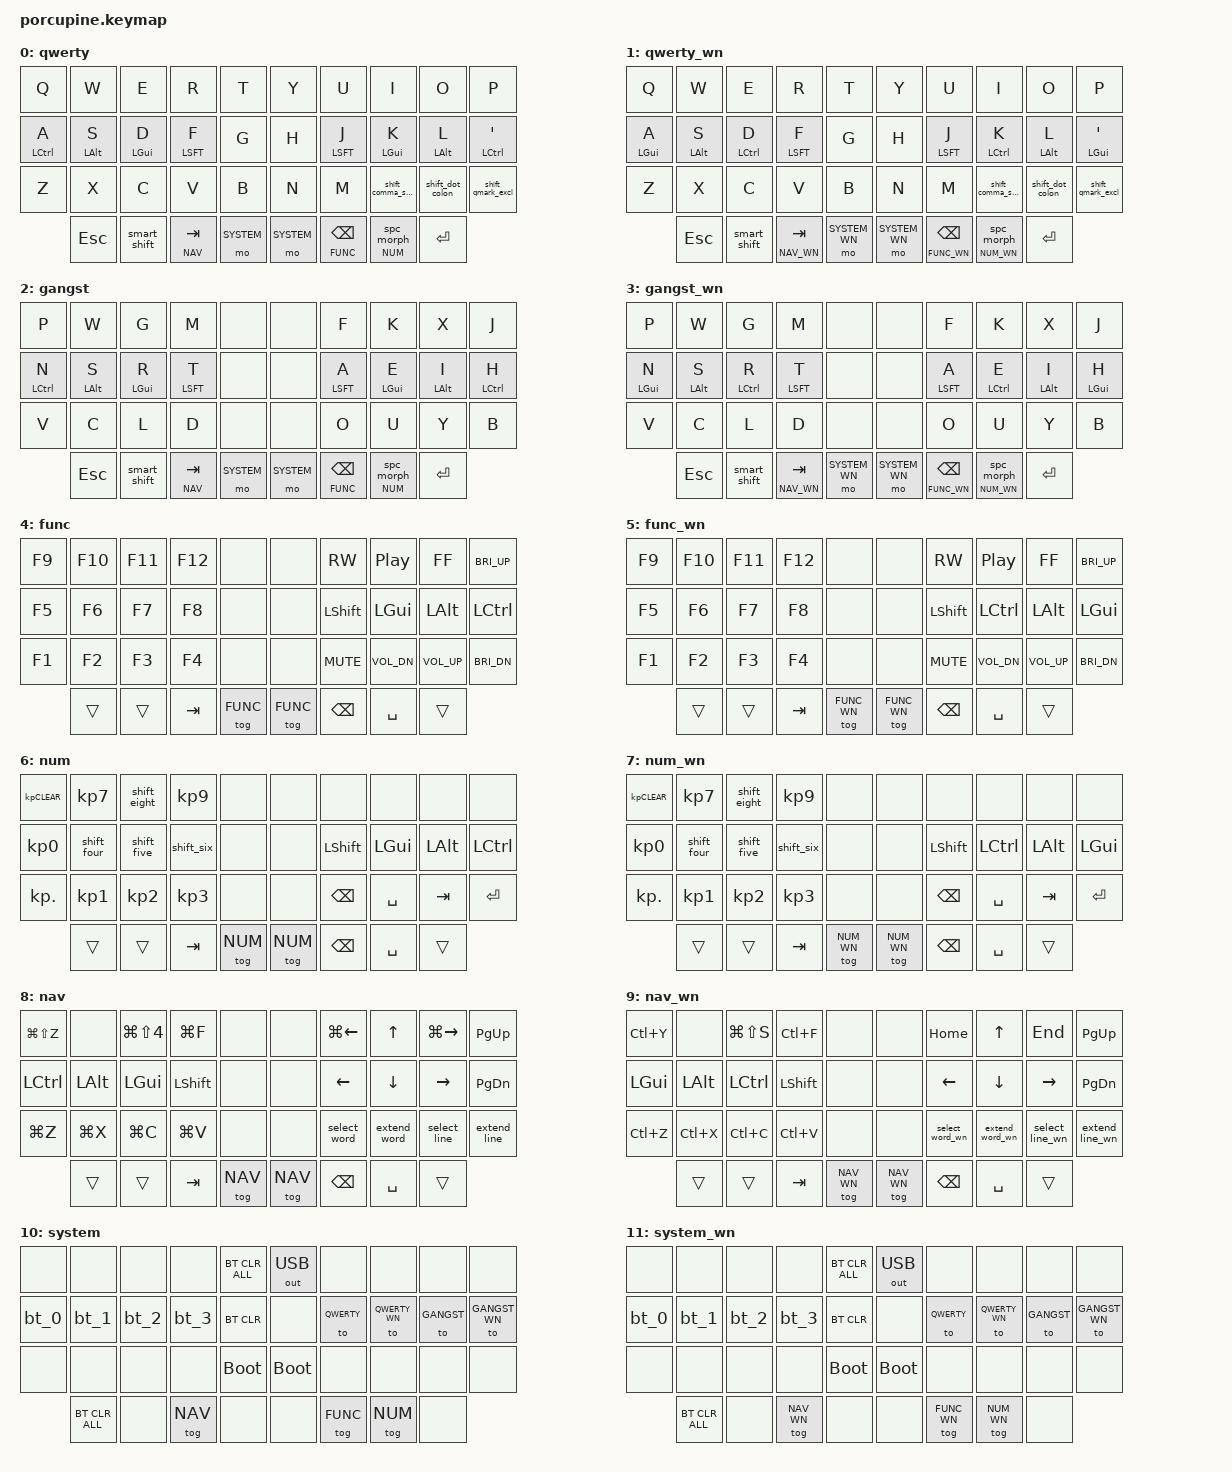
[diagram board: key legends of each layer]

/*
 * Copyright (c) 2021 The ZMK Contributors
 *
 * SPDX-License-Identifier: MIT
 */

  /************************
  * Porcupine - ZMK Keymap
  *
  * Multiple-OS keymap with qwerty and gangst layouts.
  *
  ************************/

#include <behaviors.dtsi>
#include <dt-bindings/zmk/keys.h>
#include <dt-bindings/zmk/bt.h>
#include <dt-bindings/zmk/outputs.h>

/* Helper Macros, based on https://github.com/urob/zmk-helpers/ */

#pragma once

//#define ZMK_HELPER_STRINGIFY(x) #x

// Preprocessor mechanism to overload macros, cf. https://stackoverflow.com/a/27051616/6114651
//#define VARGS_(_10, _9, _8, _7, _6, _5, _4, _3, _2, _1, N, ...) N
//#define VARGS(...) VARGS_(__VA_ARGS__, 10, 9, 8, 7, 6, 5, 4, 3, 2, 1, 0)
//#define CONCAT_(a, b) a##b
//#define CONCAT(a, b) CONCAT_(a, b)

//#define ZMK_BEHAVIOR_CORE_tap_dance  \
//    compatible = "zmk,behavior-tap-dance"; \
//    #binding-cells = <0>
//
//#define ZMK_BEHAVIOR(name, type, ...) \
//    name: name { \
//        ZMK_BEHAVIOR_CORE_ ## type; \
//        __VA_ARGS__ \
//    };
//
//#define ZMK_TAP_DANCE(name, ...) \
//    ZMK_BEHAVIOR(name, tap_dance, __VA_ARGS__)
//
//#define ZMK_TD_LAYER(name, layer) \
//    ZMK_TAP_DANCE(name, \
//        tapping-term-ms = <200>; \
//        bindings = <&mo layer>, <&to layer>; \
//)

#define QWERTY 0
#define QWERTY_WN 1
#define GANGST 2
#define GANGST_WN 3
#define FUNC 4
#define FUNC_WN 5
#define NUM 6
#define NUM_WN 7
#define NAV 8
#define NAV_WN 9
#define SYSTEM 10
#define SYSTEM_WN 11

/* System behavior and Macros */
/// {
//    behaviors {
//        // hold: momentary layer | dbl-tap: to layer
//        ZMK_TD_LAYER(lower, LOWER)
//    };
//};

/* Blue-tooth controls */
/ {
    // set blue-tooth
    macros {
        bt_0: bt_0 {
            label = "BT_0";
            compatible = "zmk,behavior-macro";
            #binding-cells = <0>;
            bindings
                = <&out OUT_BLE>,
                  <&bt BT_SEL 0>;
        };
        bt_1: bt_1 {
            label = "BT_1";
            compatible = "zmk,behavior-macro";
            #binding-cells = <0>;
            bindings
                = <&out OUT_BLE>,
                  <&bt BT_SEL 1>;
        };
        bt_2: bt_2 {
            label = "BT_2";
            compatible = "zmk,behavior-macro";
            #binding-cells = <0>;
            bindings
                = <&out OUT_BLE>,
                  <&bt BT_SEL 2>;
        };
        bt_3: bt_3 {
            label = "BT_3";
            compatible = "zmk,behavior-macro";
            #binding-cells = <0>;
            bindings
                = <&out OUT_BLE>,
                  <&bt BT_SEL 3>;
        };
    };
};

/* Custom Defined Behaviors */
/ {
    // *************
    // OS specific values to use.
    //
    // - https://en.wikipedia.org/wiki/Table_of_keyboard_shortcuts
    // *************

    //mac
    #define MC_LOCK       LG(LC(Q))
    #define MC_HOME       LG(LEFT)
    #define MC_END        LG(RIGHT)
    #define MC_FWD        LG(RIGHT)
    #define MC_BACK       LG(LEFT)
    #define MC_UNDO       LG(Z)
    #define MC_REDO       LG(LS(Z))
    #define MC_CUT        LG(X)
    #define MC_COPY       LG(C)
    #define MC_PASTE      LG(V)
    #define MC_FIND       LG(F)
    #define MC_FIND_NEXT  LG(G)
    #define MC_FIND_PREV  LG(LS(G))
    #define MC_PRNT_SCRN  LG(LS(N4))

    //win
    #define WN_LOCK       LG(L)
    #define WN_HOME       HOME
    #define WN_END        END
    #define WN_FWD        RIGHT
    #define WN_BACK       LEFT
    #define WN_UNDO       LC(Z)
    #define WN_REDO       LC(Y)
    #define WN_CUT        LC(X)
    #define WN_COPY       LC(C)
    #define WN_PASTE      LC(V)
    #define WN_FIND       LC(F)
    #define WN_FIND_NEXT  LC(G)
    #define WN_FIND_PREV  LC(LS(G))
    #define WN_PRNT_SCRN  LG(LS(S))

    // *************
    // key positions
    // *************

    //left

    //top
    #define KEY_LH_TP 0
    #define KEY_LH_TR 1
    #define KEY_LH_TM 2
    #define KEY_LH_TI 3
    #define KEY_LH_TX 4

    //mid
    #define KEY_LH_MP 10
    #define KEY_LH_MR 11
    #define KEY_LH_MM 12
    #define KEY_LH_MI 13
    #define KEY_LH_MX 14

    //bot
    #define KEY_LH_BP 20
    #define KEY_LH_BR 21
    #define KEY_LH_BM 22
    #define KEY_LH_BI 23
    #define KEY_LH_BX 24

    //thumb cluster (inner, left, home, right)
    #define KEY_LH_THI 30
    #define KEY_LH_THL 31
    #define KEY_LH_THH 32
    #define KEY_LH_THR 33

    //right

    //top
    #define KEY_RH_TX 5
    #define KEY_RH_TI 6
    #define KEY_RH_TM 7
    #define KEY_RH_TR 8
    #define KEY_RH_TP 9

    //mid
    #define KEY_RH_MX 15
    #define KEY_RH_MI 16
    #define KEY_RH_MM 17
    #define KEY_RH_MR 18
    #define KEY_RH_MP 19

    //bot
    #define KEY_RH_BX 25
    #define KEY_RH_BI 26
    #define KEY_RH_BM 27
    #define KEY_RH_BR 28
    #define KEY_RH_BP 29

    //thumb cluster (left, home, right, inner)
    #define KEY_RH_THL 34
    #define KEY_RH_THH 35
    #define KEY_RH_THR 36
    #define KEY_RH_THI 37

    behaviors {
        #define TAPPING_TERM_MS 280
        #define QUICK_TAP_MS 175
        #define PRIOR_IDLE_MS 150
        #define SELECT_WORD_DELAY 1

        // custom caps_word
        kaps_word: kaps_word {
            compatible = "zmk,behavior-caps-word";
            #binding-cells = <0>;
            continue-list = <
                UNDERSCORE MINUS
                BACKSPACE DELETE
                N1 N2 N3 N4 N5 N6 N7 N8 N9 N0
                KP_N1 KP_N2 KP_N3 KP_N4 KP_N5 KP_N6 KP_N7 KP_N8 KP_N9 KP_N0
            >;
        };

        // sticky-key config
        skq: sticky_key_quick_release {
            compatible = "zmk,behavior-sticky-key";
            #binding-cells = <1>;
            bindings = <&kp>;
            release-after-ms = <2000>;
            quick-release;
            ignore-modifiers;
        };

        // *************
        // Home Row Mods
        // *************

        #define LEFT_KEYS                                \
              0  1  2  3  4                              \
             10 11 12 13 14                              \
             20 21 22 23 24
        #define                             RIGHT_KEYS   \
                                           5  6  7  8  9 \
                                          15 16 17 18 19 \
                                          25 26 27 28 29
        #define THUMB_KEYS                               \
                      30 31 32 33   34 35 36 37

        hrm_left: homerow_mods_left {
            compatible = "zmk,behavior-hold-tap";
            label = "HOMEROW_MODS_LEFT";
            flavor = "balanced";
            tapping-term-ms = <TAPPING_TERM_MS>;
            quick_tap_ms = <QUICK_TAP_MS>;
            require-prior-idle-ms = <PRIOR_IDLE_MS>;
            #binding-cells = <2>;
            bindings = <&kp>, <&kp>;
            hold-trigger-key-positions = <RIGHT_KEYS THUMB_KEYS>;
            hold-trigger-on-release;
        };

        hrm_right: homerow_mods_right {
            compatible = "zmk,behavior-hold-tap";
            label = "HOMEROW_MODS_RIGHT";
            flavor = "balanced";
            tapping-term-ms = <TAPPING_TERM_MS>;
            quick_tap_ms = <QUICK_TAP_MS>;
            require-prior-idle-ms = <PRIOR_IDLE_MS>;
            #binding-cells = <2>;
            bindings = <&kp>, <&kp>;
            hold-trigger-key-positions = <LEFT_KEYS THUMB_KEYS>;
            hold-trigger-on-release;
        };

        // *************
        // Custom shift keys
        // *************

        // tap: comma | shift + tap: semicolon
        shift_comma_semi: shift_comma_semi {
            compatible = "zmk,behavior-mod-morph";
            #binding-cells = <0>;
            bindings = <&kp COMMA>, <&kp SEMI>;
            mods = <(MOD_LSFT|MOD_RSFT)>;
        };

        // tap: dot | shift + tap: colon
        shift_dot_colon: shift_dot_colon {
            compatible = "zmk,behavior-mod-morph";
            #binding-cells = <0>;
            bindings = <&kp DOT>, <&kp COLON>;
            mods = <(MOD_LSFT|MOD_RSFT)>;
        };

        // tap: qmark | shift + tap: excl
        shift_qmark_excl: shift_qmark_excl {
            compatible = "zmk,behavior-mod-morph";
            #binding-cells = <0>;
            bindings = <&kp QMARK>, <&kp EXCL>;
            mods = <(MOD_LSFT|MOD_RSFT)>;
        };

        // tap: lparen | shift + tap: rparen
        shift_parens: shift_parens {
            compatible = "zmk,behavior-mod-morph";
            #binding-cells = <0>;
            bindings = <&kp LPAR>, <&kp RPAR>;
            mods = <(MOD_LSFT|MOD_RSFT)>;
        };

        // tap: less_than | shift + tap: greater_than
        shift_angle: shift_angle {
                compatible = "zmk,behavior-mod-morph";
                #binding-cells = <0>;
                bindings = <&kp LESS_THAN>, <&kp GREATER_THAN>;
                mods = <(MOD_LSFT|MOD_RSFT)>;
            };

        // tap: lbracket | shift + tap: rbracket
        shift_brackets: shift_brackets {
            compatible = "zmk,behavior-mod-morph";
            #binding-cells = <0>;
            bindings = <&kp LBKT>, <&kp RBKT>;
            mods = <(MOD_LSFT|MOD_RSFT)>;
        };

        // tap: lbrace | shift + tap: rbrace
        shift_braces: shift_braces {
            compatible = "zmk,behavior-mod-morph";
            #binding-cells = <0>;
            bindings = <&kp LBRC>, <&kp RBRC>;
            mods = <(MOD_LSFT|MOD_RSFT)>;
        };

        // tap: sticky-shift | shift + tap/double-tap: caps-word | hold: shift
        smart_shift: smart_shift {
            compatible = "zmk,behavior-mod-morph";
            #binding-cells = <0>;
            bindings = <&skq LSHFT>, <&kaps_word>;
            mods = <(MOD_LSFT)>;
        };

        // tap: dot | shift + tap: extend_line_right
//        shift_dot: shift_dot {
//            compatible = "zmk,behavior-mod-morph";
//            #binding-cells = <0>;
//            bindings = <&kp KP_DOT>, <&extend_line_right>;
//            mods = <(MOD_LSFT|MOD_RSFT)>;
//        };

        // tap: 4 | shift + tap: left
        shift_four: shift_four {
            compatible = "zmk,behavior-mod-morph";
            #binding-cells = <0>;
            bindings = <&kp KP_N4>, <&kp LEFT>;
            mods = <(MOD_LSFT|MOD_RSFT)>;
        };

        // tap: 5 | shift + tap: down
        shift_five: shift_five {
            compatible = "zmk,behavior-mod-morph";
            #binding-cells = <0>;
            bindings = <&kp KP_N5>, <&kp DOWN>;
            mods = <(MOD_LSFT|MOD_RSFT)>;
        };

        // tap: 6 | shift + tap: right
        shift_six: shift_six {
            compatible = "zmk,behavior-mod-morph";
            #binding-cells = <0>;
            bindings = <&kp KP_N6>, <&kp RIGHT>;
            mods = <(MOD_LSFT|MOD_RSFT)>;
        };

        // tap: 8 | shift + tap: up
        shift_eight: shift_eight {
            compatible = "zmk,behavior-mod-morph";
            #binding-cells = <0>;
            bindings = <&kp KP_N8>, <&kp UP>;
            mods = <(MOD_LSFT|MOD_RSFT)>;
        };

        // *************
        // Custom layer tap
        // *************

        lt_thumb: layer_tap_thumb {
            compatible = "zmk,behavior-hold-tap";
            #binding-cells = <2>;
            flavor = "balanced";
            tapping-term-ms = <200>;
            quick-tap-ms = <QUICK_TAP_MS>;
            require-prior-idle-ms = <PRIOR_IDLE_MS>;
            bindings = <&mo>, <&kp>;
        };

        // tap: space | shift + tap: dot -> space -> sticky shift | hold: activate layer
        lt_space: lt_spc {
            compatible = "zmk,behavior-hold-tap";
            #binding-cells = <2>;
            flavor = "balanced";
            tapping-term-ms = <200>;
            quick-tap-ms = <QUICK_TAP_MS>;
            bindings = <&mo>, <&spc_morph>;
        };

        // tap: space | shift + tap: dot -> space -> sticky shift
        spc_morph: spc_morph {
            compatible = "zmk,behavior-mod-morph";
            #binding-cells = <0>;
            mods = <(MOD_LSFT|MOD_RSFT)>;
            bindings = <&kp SPACE>, <&dot_spc>;
        };

        //macro: dot -> space -> sticky shift
        dot_spc: dot_spc {
            compatible = "zmk,behavior-macro";
            #binding-cells = <0>;
            wait-ms = <0>;
            tap-ms = <5>;
            bindings = <&kp DOT &kp SPACE &skq LSHFT>;
        };

        // tap: selects word to right | shift + tab: selects word to left
        select_word: select_word {
            compatible = "zmk,behavior-mod-morph";
            #binding-cells = <0>;
            bindings = <&select_word_right>, <&select_word_left>;
            mods = <(MOD_LSFT|MOD_RSFT)>;
        };
        ZMK_MACRO(select_word_right,
            wait-ms = <SELECT_WORD_DELAY>;
            tap-ms = <SELECT_WORD_DELAY>;
            bindings = <&kp LA(RIGHT) &kp LA(LEFT) &kp LA(LS(RIGHT))>;
        )
        ZMK_MACRO(select_word_left,
            wait-ms = <SELECT_WORD_DELAY>;
            tap-ms = <SELECT_WORD_DELAY>;
            bindings = <&kp LA(LEFT) &kp LA(RIGHT) &kp LA(LS(LEFT))>;
        )

        // win tap: selects word to right | shift + tab: selects word to left
        select_word_wn: select_word_wn {
            compatible = "zmk,behavior-mod-morph";
            #binding-cells = <0>;
            bindings = <&select_word_right_wn>, <&select_word_left_wn>;
            mods = <(MOD_LSFT|MOD_RSFT)>;
        };
        ZMK_MACRO(select_word_right_wn,
            wait-ms = <SELECT_WORD_DELAY>;
            tap-ms = <SELECT_WORD_DELAY>;
            bindings = <&kp LC(RIGHT) &kp LC(LEFT) &kp LC(LS(RIGHT))>;
        )
        ZMK_MACRO(select_word_left_wn,
            wait-ms = <SELECT_WORD_DELAY>;
            tap-ms = <SELECT_WORD_DELAY>;
            bindings = <&kp LC(LEFT) &kp LC(RIGHT) &kp LC(LS(LEFT))>;
        )

        // tap: extends current selection one word right | shift + tap: extends current selection one word left
        extend_word: extend_word {
            compatible = "zmk,behavior-mod-morph";
            #binding-cells = <0>;
            bindings = <&extend_word_right>, <&extend_word_left>;
            mods = <(MOD_LSFT|MOD_RSFT)>;
        };
        ZMK_MACRO(extend_word_right,
            wait-ms = <SELECT_WORD_DELAY>;
            tap-ms = <SELECT_WORD_DELAY>;
            bindings = <&kp LA(LS(RIGHT))>;
        )
        ZMK_MACRO(extend_word_left,
            wait-ms = <SELECT_WORD_DELAY>;
            tap-ms = <SELECT_WORD_DELAY>;
            bindings = <&kp LA(LS(LEFT))>;
        )

        // win tap: extends current selection one word right | shift + tap: extends current selection one word left
        extend_word_wn: extend_word_wn {
            compatible = "zmk,behavior-mod-morph";
            #binding-cells = <0>;
            bindings = <&extend_word_right_wn>, <&extend_word_left_wn>;
            mods = <(MOD_LSFT|MOD_RSFT)>;
        };
        ZMK_MACRO(extend_word_right_wn,
            wait-ms = <SELECT_WORD_DELAY>;
            tap-ms = <SELECT_WORD_DELAY>;
            bindings = <&kp LC(LS(RIGHT))>;
        )
        ZMK_MACRO(extend_word_left_wn,
            wait-ms = <SELECT_WORD_DELAY>;
            tap-ms = <SELECT_WORD_DELAY>;
            bindings = <&kp LC(LS(LEFT))>;
        )

        // tap: selects current line to right | shift + tap: select current line to left
        select_line: select_line {
            compatible = "zmk,behavior-mod-morph";
            #binding-cells = <0>;
            bindings = <&select_line_right>, <&select_line_left>;
            mods = <(MOD_LSFT|MOD_RSFT)>;
        };
        ZMK_MACRO(select_line_right,
            wait-ms = <SELECT_WORD_DELAY>;
            tap-ms = <SELECT_WORD_DELAY>;
            bindings = <&kp MC_HOME &kp LS(MC_END)>;
        )
        ZMK_MACRO(select_line_left,
            wait-ms = <SELECT_WORD_DELAY>;
            tap-ms = <SELECT_WORD_DELAY>;
            bindings = <&kp MC_END &kp LS(MC_HOME)>;
        )

        // win tap: selects current line to right | shift + tap: select current line to left
        select_line_wn: select_line_wn {
            compatible = "zmk,behavior-mod-morph";
            #binding-cells = <0>;
            bindings = <&select_line_right_wn>, <&select_line_left_wn>;
            mods = <(MOD_LSFT|MOD_RSFT)>;
        };
        ZMK_MACRO(select_line_right_wn,
            wait-ms = <SELECT_WORD_DELAY>;
            tap-ms = <SELECT_WORD_DELAY>;
            bindings = <&kp WN_HOME &kp LS(WN_END)>;
        )
        ZMK_MACRO(select_line_left_wn,
            wait-ms = <SELECT_WORD_DELAY>;
            tap-ms = <SELECT_WORD_DELAY>;
            bindings = <&kp WN_END &kp LS(WN_HOME)>;
        )

        // tap: extends current selection one line right (down) | shift + tap: extends current selection one line left (up)
        extend_line: extend_line {
            compatible = "zmk,behavior-mod-morph";
            #binding-cells = <0>;
            bindings = <&extend_line_right>, <&extend_line_left>;
            mods = <(MOD_LSFT|MOD_RSFT)>;
        };
        ZMK_MACRO(extend_line_right,
            wait-ms = <SELECT_WORD_DELAY>;
            tap-ms = <SELECT_WORD_DELAY>;
            bindings = <&kp LS(DOWN) &kp LS(MC_END)>;
        )
        ZMK_MACRO(extend_line_left,
            wait-ms = <SELECT_WORD_DELAY>;
            tap-ms = <SELECT_WORD_DELAY>;
            bindings = <&kp LS(UP) &kp LS(MC_HOME)>;
        )

        // win tap: extends current selection one line right (down) | shift + tap: extends current selection one line left (up)
        extend_line_wn: extend_line_wn {
            compatible = "zmk,behavior-mod-morph";
            #binding-cells = <0>;
            bindings = <&extend_line_right_wn>, <&extend_line_left_wn>;
            mods = <(MOD_LSFT|MOD_RSFT)>;
        };
        ZMK_MACRO(extend_line_right_wn,
            wait-ms = <SELECT_WORD_DELAY>;
            tap-ms = <SELECT_WORD_DELAY>;
            bindings = <&kp LS(DOWN) &kp LS(WN_END)>;
        )
        ZMK_MACRO(extend_line_left_wn,
            wait-ms = <SELECT_WORD_DELAY>;
            tap-ms = <SELECT_WORD_DELAY>;
            bindings = <&kp LS(UP) &kp LS(WN_HOME)>;
        )
    };

    combos {
        compatible = "zmk,combos";

        // COMBO_TIMEOUT defines how much time you have left (milliseconds)
        // after pressing the first key in a ZMK combo to finish the whole chord.
        //
        #ifndef COMBO_TIMEOUT
            #define COMBO_TIMEOUT 50
        #endif

        // left combos
        // horizontal
        // top
        cmb_q {
            timeout-ms = <COMBO_TIMEOUT>;
            key-positions = <KEY_LH_TP KEY_LH_TR>;
            bindings = <&kp Q>;
            layers = <QWERTY GANGST QWERTY_WN GANGST_WN>;
            require-prior-idle-ms = <PRIOR_IDLE_MS>;
        };
        cmb_angle {
            timeout-ms = <COMBO_TIMEOUT>;
            key-positions = <KEY_LH_TR KEY_LH_TM>;
            bindings = <&shift_angle>;
            layers = <QWERTY GANGST QWERTY_WN GANGST_WN>;
            require-prior-idle-ms = <PRIOR_IDLE_MS>;
        };
        cmb_paren {
            timeout-ms = <COMBO_TIMEOUT>;
            key-positions = <KEY_LH_TM KEY_LH_TI>;
            bindings = <&shift_parens>;
            layers = <QWERTY GANGST QWERTY_WN GANGST_WN>;
            require-prior-idle-ms = <PRIOR_IDLE_MS>;
        };

        // mid
        // bot
        cmb_z {
            timeout-ms = <COMBO_TIMEOUT>;
            key-positions = <KEY_LH_BP KEY_LH_BR>;
            bindings = <&kp Z>;
            layers = <QWERTY GANGST QWERTY_WN GANGST_WN>;
            require-prior-idle-ms = <PRIOR_IDLE_MS>;
        };
        cmb_brace {
            timeout-ms = <COMBO_TIMEOUT>;
            key-positions = <KEY_LH_BR KEY_LH_BM>;
            bindings = <&shift_braces>;
            layers = <QWERTY GANGST QWERTY_WN GANGST_WN>;
            require-prior-idle-ms = <PRIOR_IDLE_MS>;
        };
        cmb_bracket {
            timeout-ms = <COMBO_TIMEOUT>;
            key-positions = <KEY_LH_BM KEY_LH_BI>;
            bindings = <&shift_brackets>;
            layers = <QWERTY GANGST QWERTY_WN GANGST_WN>;
            require-prior-idle-ms = <PRIOR_IDLE_MS>;
        };


        // vertical
        // index
        cmb_plus_x {
            timeout-ms = <COMBO_TIMEOUT>;
            key-positions = <KEY_LH_TI KEY_LH_MI>;
            bindings = <&kp PLUS>;
            layers = <QWERTY GANGST QWERTY_WN GANGST_WN NUM NUM_WN>;
            require-prior-idle-ms = <PRIOR_IDLE_MS>;
        };
        cmb_minus_x {
            timeout-ms = <COMBO_TIMEOUT>;
            key-positions = <KEY_LH_MI KEY_LH_BI>;
            bindings = <&kp MINUS>;
            layers = <QWERTY GANGST QWERTY_WN GANGST_WN NUM NUM_WN>;
            require-prior-idle-ms = <PRIOR_IDLE_MS>;
        };

        // middle
        cmb_star_x {
            timeout-ms = <COMBO_TIMEOUT>;
            key-positions = <KEY_LH_TM KEY_LH_MM>;
            bindings = <&kp STAR>;
            layers = <QWERTY GANGST QWERTY_WN GANGST_WN NUM NUM_WN>;
            require-prior-idle-ms = <PRIOR_IDLE_MS>;
        };
        cmb_slash_x {
            timeout-ms = <COMBO_TIMEOUT>;
            key-positions = <KEY_LH_MM KEY_LH_BM>;
            bindings = <&kp SLASH>;
            layers = <QWERTY GANGST QWERTY_WN GANGST_WN NUM NUM_WN>;
            require-prior-idle-ms = <PRIOR_IDLE_MS>;
        };

        // ring
        cmb_dollar_x {
            timeout-ms = <COMBO_TIMEOUT>;
            key-positions = <KEY_LH_TR KEY_LH_MR>;
            bindings = <&kp DOLLAR>;
            layers = <QWERTY GANGST QWERTY_WN GANGST_WN NUM NUM_WN>;
            require-prior-idle-ms = <PRIOR_IDLE_MS>;
        };
        cmb_equal_x {
            timeout-ms = <COMBO_TIMEOUT>;
            key-positions = <KEY_LH_MR KEY_LH_BR>;
            bindings = <&kp EQUAL>;
            layers = <QWERTY GANGST QWERTY_WN GANGST_WN NUM NUM_WN>;
            require-prior-idle-ms = <PRIOR_IDLE_MS>;
        };

        // pinky
        cmb_caret_x {
            timeout-ms = <COMBO_TIMEOUT>;
            key-positions = <KEY_LH_TP KEY_LH_MP>;
            bindings = <&kp CARET>;
            layers = <QWERTY GANGST QWERTY_WN GANGST_WN NUM NUM_WN>;
            require-prior-idle-ms = <PRIOR_IDLE_MS>;
        };
        cmb_percent_x {
            timeout-ms = <COMBO_TIMEOUT>;
            key-positions = <KEY_LH_MP KEY_LH_BP>;
            bindings = <&kp PERCENT>;
            layers = <QWERTY GANGST QWERTY_WN GANGST_WN NUM NUM_WN>;
            require-prior-idle-ms = <PRIOR_IDLE_MS>;
        };


        // right combos
        // horizontal
        // top
        // mid
        cmb_quote {
            timeout-ms = <COMBO_TIMEOUT>;
            key-positions = <KEY_RH_MR KEY_RH_MP>;
            bindings = <&kp SQT>;
            layers = <QWERTY GANGST QWERTY_WN GANGST_WN>;
            require-prior-idle-ms = <PRIOR_IDLE_MS>;
        };

        // bot
        cmb_dot {
            timeout-ms = <COMBO_TIMEOUT>;
            key-positions = <KEY_RH_BI KEY_RH_BM>;
            bindings = <&shift_dot_colon>;
            layers = <QWERTY GANGST QWERTY_WN GANGST_WN>;
            require-prior-idle-ms = <PRIOR_IDLE_MS>;
        };
        cmb_comma {
            timeout-ms = <COMBO_TIMEOUT>;
            key-positions = <KEY_RH_BM KEY_RH_BR>;
            bindings = <&shift_comma_semi>;
            layers = <QWERTY GANGST QWERTY_WN GANGST_WN>;
            require-prior-idle-ms = <PRIOR_IDLE_MS>;
        };
        cmb_question {
            timeout-ms = <COMBO_TIMEOUT>;
            key-positions = <KEY_RH_BR KEY_RH_BP>;
            bindings = <&shift_qmark_excl>;
            layers = <QWERTY GANGST QWERTY_WN GANGST_WN>;
            require-prior-idle-ms = <PRIOR_IDLE_MS>;
        };

        // vertical
        // index
        cmb_hash_x {
            timeout-ms = <COMBO_TIMEOUT>;
            key-positions = <KEY_RH_TI KEY_RH_MI>;
            bindings = <&kp HASH>;
            layers = <QWERTY GANGST QWERTY_WN GANGST_WN>;
            require-prior-idle-ms = <PRIOR_IDLE_MS>;
        };
        cmb_under_x {
            timeout-ms = <COMBO_TIMEOUT>;
            key-positions = <KEY_RH_MI KEY_RH_BI>;
            bindings = <&kp UNDER>;
            layers = <QWERTY GANGST QWERTY_WN GANGST_WN>;
            require-prior-idle-ms = <PRIOR_IDLE_MS>;
        };

        // middle
        cmb_at_x {
            timeout-ms = <COMBO_TIMEOUT>;
            key-positions = <KEY_RH_TM KEY_RH_MM>;
            bindings = <&kp AT>;
            layers = <QWERTY GANGST QWERTY_WN GANGST_WN>;
            require-prior-idle-ms = <PRIOR_IDLE_MS>;
        };
        cmb_grave_x {
            timeout-ms = <COMBO_TIMEOUT>;
            key-positions = <KEY_RH_MM KEY_RH_BM>;
            bindings = <&kp GRAVE>;
            layers = <QWERTY GANGST QWERTY_WN GANGST_WN>;
            require-prior-idle-ms = <PRIOR_IDLE_MS>;
        };

        // ring
        cmb_amps_x {
            timeout-ms = <COMBO_TIMEOUT>;
            key-positions = <KEY_RH_TR KEY_RH_MR>;
            bindings = <&kp AMPS>;
            layers = <QWERTY GANGST QWERTY_WN GANGST_WN>;
            require-prior-idle-ms = <PRIOR_IDLE_MS>;
        };
        cmb_pipe_x {
            timeout-ms = <COMBO_TIMEOUT>;
            key-positions = <KEY_RH_MR KEY_RH_BR>;
            bindings = <&kp PIPE>;
            layers = <QWERTY GANGST QWERTY_WN GANGST_WN>;
            require-prior-idle-ms = <PRIOR_IDLE_MS>;
        };

        // pinky
        cmb_tilde_x {
            timeout-ms = <COMBO_TIMEOUT>;
            key-positions = <KEY_RH_TP KEY_RH_MP>;
            bindings = <&kp TILDE>;
            layers = <QWERTY GANGST QWERTY_WN GANGST_WN>;
            require-prior-idle-ms = <PRIOR_IDLE_MS>;
        };
        cmb_bslash_x {
            timeout-ms = <COMBO_TIMEOUT>;
            key-positions = <KEY_RH_MP KEY_RH_BP>;
            bindings = <&kp BACKSLASH>;
            layers = <QWERTY GANGST QWERTY_WN GANGST_WN>;
            require-prior-idle-ms = <PRIOR_IDLE_MS>;
        };
    };
};

/ {
  keymap {
    compatible = "zmk,keymap";

    qwerty {
      bindings = <
        &kp Q             &kp W             &kp E             &kp R                 &kp T                  &kp Y          &kp U                   &kp I               &kp O              &kp P
        &hrm_left LCTL A  &hrm_left LALT S  &hrm_left LGUI D  &hrm_left LSFT F      &kp G                  &kp H          &hrm_right LSFT J       &hrm_right LGUI K   &hrm_right LALT L  &hrm_right LCTL SQT
        &kp Z             &kp X             &kp C             &kp V                 &kp B                  &kp N          &kp M                   &shift_comma_semi   &shift_dot_colon   &shift_qmark_excl
                          &kp ESC           &smart_shift      &lt_thumb NAV TAB     &mo SYSTEM             &mo SYSTEM     &lt_thumb FUNC BSPC     &lt_space NUM 0     &kp RET
      >;
    };

    qwerty_wn {
      bindings = <
        &kp Q             &kp W             &kp E             &kp R                 &kp T                  &kp Y          &kp U                   &kp I               &kp O              &kp P
        &hrm_left LGUI A  &hrm_left LALT S  &hrm_left LCTL D  &hrm_left LSFT F      &kp G                  &kp H          &hrm_right LSFT J       &hrm_right LCTL K   &hrm_right LALT L  &hrm_right LGUI SQT
        &kp Z             &kp X             &kp C             &kp V                 &kp B                  &kp N          &kp M                   &shift_comma_semi   &shift_dot_colon   &shift_qmark_excl
                          &kp ESC           &smart_shift      &lt_thumb NAV_WN TAB  &mo SYSTEM_WN          &mo SYSTEM_WN  &lt_thumb FUNC_WN BSPC  &lt_space NUM_WN 0  &kp RET
      >;
    };

    gangst {
      bindings = <
        &kp P             &kp W             &kp G             &kp M                 &none                  &none          &kp F                   &kp K               &kp X              &kp J
        &hrm_left LCTL N  &hrm_left LALT S  &hrm_left LGUI R  &hrm_left LSFT T      &none                  &none          &hrm_right LSFT A       &hrm_right LGUI E   &hrm_right LALT I  &hrm_right LCTL H
        &kp V             &kp C             &kp L             &kp D                 &none                  &none          &kp O                   &kp U               &kp Y              &kp B
                          &kp ESC           &smart_shift      &lt_thumb NAV TAB     &mo SYSTEM             &mo SYSTEM     &lt_thumb FUNC BSPC     &lt_space NUM 0     &kp RET
      >;
    };

    gangst_wn {
      bindings = <
        &kp P             &kp W             &kp G             &kp M                 &none                  &none          &kp F                   &kp K               &kp X              &kp J
        &hrm_left LGUI N  &hrm_left LALT S  &hrm_left LCTL R  &hrm_left LSFT T      &none                  &none          &hrm_right LSFT A       &hrm_right LCTL E   &hrm_right LALT I  &hrm_right LGUI H
        &kp V             &kp C             &kp L             &kp D                 &none                  &none          &kp O                   &kp U               &kp Y              &kp B
                          &kp ESC           &smart_shift      &lt_thumb NAV_WN TAB  &mo SYSTEM_WN          &mo SYSTEM_WN  &lt_thumb FUNC_WN BSPC  &lt_space NUM_WN 0  &kp RET
      >;
    };

    func {
      bindings = <
        &kp F9            &kp F10           &kp F11           &kp F12               &none                  &none          &kp C_RW                &kp C_PP            &kp C_FF           &kp C_BRI_UP
        &kp F5            &kp F6            &kp F7            &kp F8                &none                  &none          &kp LSHFT               &kp LGUI            &kp LALT           &kp LCTRL
        &kp F1            &kp F2            &kp F3            &kp F4                &none                  &none          &kp C_MUTE              &kp C_VOL_DN        &kp C_VOL_UP       &kp C_BRI_DN
                          &trans            &trans            &kp TAB               &tog FUNC              &tog FUNC      &kp BSPC                &kp SPACE           &trans
      >;
    };

    func_wn {
      bindings = <
        &kp F9            &kp F10           &kp F11           &kp F12               &none                  &none          &kp C_RW                &kp C_PP            &kp C_FF           &kp C_BRI_UP
        &kp F5            &kp F6            &kp F7            &kp F8                &none                  &none          &kp LSHFT               &kp LCTRL           &kp LALT           &kp LGUI
        &kp F1            &kp F2            &kp F3            &kp F4                &none                  &none          &kp C_MUTE              &kp C_VOL_DN        &kp C_VOL_UP       &kp C_BRI_DN
                          &trans            &trans            &kp TAB               &tog FUNC_WN           &tog FUNC_WN   &kp BSPC                &kp SPACE           &trans
      >;
    };

    num {
      bindings = <
        &kp KP_CLEAR      &kp KP_N7         &shift_eight      &kp KP_N9             &none                  &none          &none                   &none               &none              &none
        &kp KP_N0         &shift_four       &shift_five       &shift_six            &none                  &none          &kp LSHFT               &kp LGUI            &kp LALT           &kp LCTRL
        &kp KP_DOT        &kp KP_N1         &kp KP_N2         &kp KP_N3             &none                  &none          &kp BSPC                &kp SPACE           &kp TAB            &kp RET
                          &trans            &trans            &kp TAB               &tog NUM               &tog NUM       &kp BSPC                &kp SPACE           &trans
      >;
    };

    num_wn {
      bindings = <
        &kp KP_CLEAR      &kp KP_N7         &shift_eight      &kp KP_N9             &none                  &none          &none                   &none               &none              &none
        &kp KP_N0         &shift_four       &shift_five       &shift_six            &none                  &none          &kp LSHFT               &kp LCTRL           &kp LALT           &kp LGUI
        &kp KP_DOT        &kp KP_N1         &kp KP_N2         &kp KP_N3             &none                  &none          &kp BSPC                &kp SPACE           &kp TAB            &kp RET
                          &trans            &trans            &kp TAB               &tog NUM_WN            &tog NUM_WN    &kp BSPC                &kp SPACE           &trans
      >;
    };

    nav {
      bindings = <
        &kp MC_REDO       &none             &kp MC_PRNT_SCRN  &kp MC_FIND           &none                  &none          &kp MC_HOME             &kp UP              &kp MC_END         &kp PG_UP
        &kp LCTRL         &kp LALT          &kp LGUI          &kp LSHFT             &none                  &none          &kp LEFT                &kp DOWN            &kp RIGHT          &kp PG_DN
        &kp MC_UNDO       &kp MC_CUT        &kp MC_COPY       &kp MC_PASTE          &none                  &none          &select_word            &extend_word        &select_line       &extend_line
                          &trans            &trans            &kp TAB               &tog NAV               &tog NAV       &kp BSPC                &kp SPACE           &trans
      >;
    };

    nav_wn {
      bindings = <
        &kp WN_REDO       &none             &kp WN_PRNT_SCRN  &kp WN_FIND           &none                  &none          &kp HOME                &kp UP              &kp END            &kp PG_UP
        &kp LGUI          &kp LALT          &kp LCTRL         &kp LSHFT             &none                  &none          &kp LEFT                &kp DOWN            &kp RIGHT          &kp PG_DN
        &kp WN_UNDO       &kp WN_CUT        &kp WN_COPY       &kp WN_PASTE          &none                  &none          &select_word_wn         &extend_word_wn     &select_line_wn    &extend_line_wn
                          &trans            &trans            &kp TAB               &tog NAV_WN            &tog NAV_WN    &kp BSPC                &kp SPACE           &trans
      >;
    };

    system {
      bindings = <
        &none             &none             &none             &none                 &bt BT_CLR_ALL         &out OUT_USB   &none                   &none               &none              &none
        &bt_0             &bt_1             &bt_2             &bt_3                 &bt BT_CLR             &none          &to QWERTY              &to QWERTY_WN       &to GANGST         &to GANGST_WN
        &none             &none             &none             &none                 &bootloader            &bootloader    &none                   &none               &none              &none
                          &bt BT_CLR_ALL    &none             &tog NAV              &none                  &none          &tog FUNC               &tog NUM            &none
      >;
    };

    system_wn {
      bindings = <
        &none             &none             &none             &none                 &bt BT_CLR_ALL         &out OUT_USB   &none                   &none               &none              &none
        &bt_0             &bt_1             &bt_2             &bt_3                 &bt BT_CLR             &none          &to QWERTY              &to QWERTY_WN       &to GANGST         &to GANGST_WN
        &none             &none             &none             &none                 &bootloader            &bootloader    &none                   &none               &none              &none
                          &bt BT_CLR_ALL    &none             &tog NAV_WN           &none                  &none          &tog FUNC_WN            &tog NUM_WN         &none
      >;
    };

  };
};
